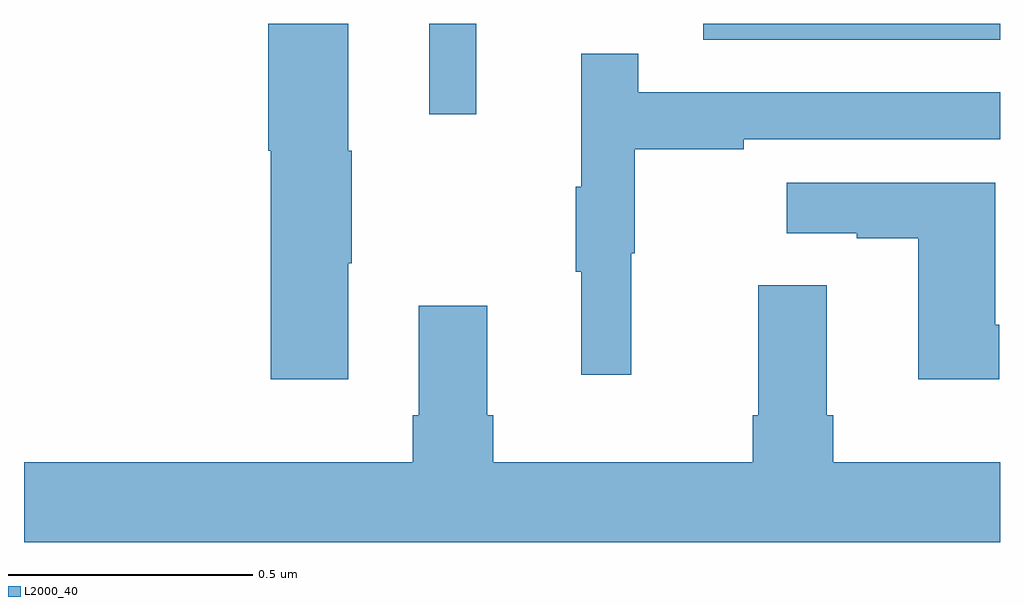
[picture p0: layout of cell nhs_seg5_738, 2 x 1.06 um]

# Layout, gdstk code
import gdstk
lib = gdstk.Library(unit=1e-6, precision=1e-09)
def R(c, l, rs):  # rectangles x0, y0, x1, y1
    for r in rs: c.add(gdstk.rectangle(r[:2], r[2:], *l))
def P(c, l, *ps):  # polygons
    for p in ps: c.add(gdstk.Polygon(p, *l))
L2000_40 = (2000, 40)

nhs_seg5_738 = lib.new_cell('nhs_seg5_738')
R(nhs_seg5_738, L2000_40, [(120.83,881.613,120.927,881.799), (121.392,881.766,122,881.799)])
P(nhs_seg5_738, L2000_40, [(120.664,881.308),(120.672,881.308),(120.672,881.538),(120.664,881.538),(120.664,881.799),(120.5,881.799),(120.5,881.538),(120.506,881.538),(120.506,881.07),(120.664,881.07)],
  [(121.244,881.328),(121.252,881.328),(121.252,881.542),(121.475,881.542),(121.475,881.562),(122,881.562),(122,881.658),(121.259,881.658),(121.259,881.737),(121.142,881.737),(121.142,881.465),(121.131,881.465),(121.131,881.291),(121.142,881.291),(121.142,881.079),(121.244,881.079)],
  [(121.998,881.182),(121.99,881.182),(121.99,881.473),(121.563,881.473),(121.563,881.369),(121.706,881.369),(121.706,881.359),(121.832,881.359),(121.832,881.07),(121.998,881.07)],
  [(122,880.9),(121.658,880.9),(121.658,880.996),(121.645,880.996),(121.645,881.263),(121.505,881.263),(121.505,880.996),(121.493,880.996),(121.493,880.9),(120.962,880.9),(120.962,880.996),(120.949,880.996),(120.949,881.221),(120.809,881.221),(120.809,880.996),(120.797,880.996),(120.797,880.9),(120,880.9),(120,880.736),(122,880.736)])

lib.write_gds('nhs_seg5_738.gds')
